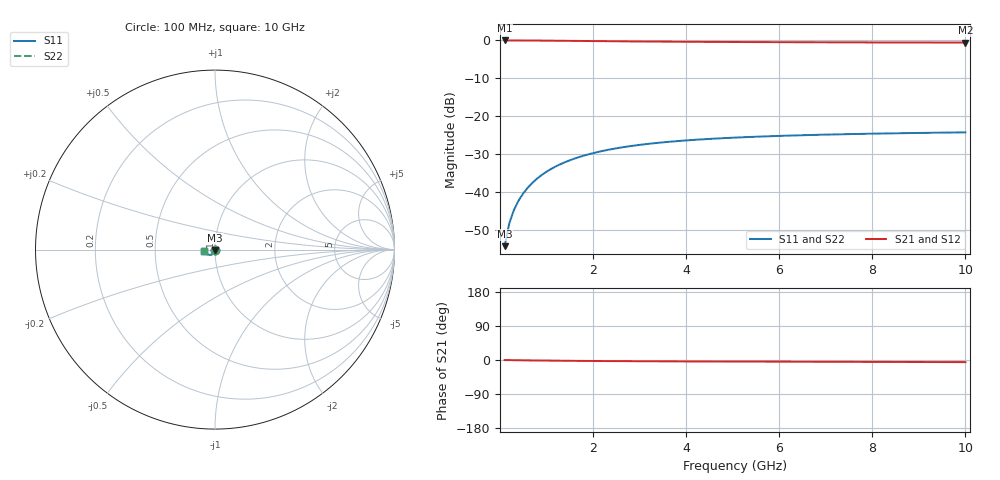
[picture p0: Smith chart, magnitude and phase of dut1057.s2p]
! Touchstone file exported from HFSS 2024.1.0
!  File:  C:/UserFiles/LocalFiles/RDL_TSV_Batchsim/temp_TSV1_1057_1780063100.aedt
!  Generated:  10:04:06 PM May 29, 2026
!  Design:  TSV1
!  Project:  temp_TSV1_1057_1780063100
!  Setup:  Setup1
!  Solution:  Sweep
! Variables:
!  dtsv = 14.5um
!  hbump = 3um
!  htsv = 86.67um
!  lrdl = 252.1521522um
!  p = 40
!  p1 = 57.31um
!  t = 500um
!  trdl = 3um
!  wrdl = 24.89489489um
# GHz S MA R 50.000000
! Terminal data exported
! Port[1] = TSV22_T1
! Port[2] = TSV22_T2
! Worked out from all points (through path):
!   100 points, 100 MHz to 10 GHz, reference 50 ohm
!   highest |S21| = 0.00 dB at 100 MHz (marker M1); lowest = -0.6 dB at 10 GHz (marker M2)
!   lowest |S11| = -54.2 dB at 100 MHz (marker M3), VSWR 1.00, Z = 50 - j0.195 ohm
!   |S11| at or under -10 dB: start of sweep to end of sweep
!   |S22| runs from -54.2 to -24.2 dB; largest |S21 - S12| = 4e-15
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0.1  0.001947 -89.5  0.9998 -0.2  0.9998 -0.2  0.001947 -89.5
! Gamma 0 0 0 0
! Port Impedance 50 0 50 0
0.2  0.003893 -92.5  0.9996 -0.3  0.9996 -0.3  0.003893 -92.5
0.3  0.005833 -94.8  0.9993 -0.5  0.9993 -0.5  0.005833 -94.8
0.4  0.007759 -97.0  0.9988 -0.7  0.9988 -0.7  0.007759 -97.0
0.5  0.009662 -99.0  0.9982 -0.8  0.9982 -0.8  0.009662 -99.0
0.6  0.01153 -101.0  0.9975 -1.0  0.9975 -1.0  0.01153 -101.0
0.7  0.01337 -103.0  0.9967 -1.1  0.9967 -1.1  0.01337 -103.0
0.8  0.01517 -104.9  0.9958 -1.3  0.9958 -1.3  0.01517 -104.9
0.9  0.01692 -106.8  0.9949 -1.4  0.9949 -1.4  0.01692 -106.8
1.1  0.02028 -110.4  0.9928 -1.7  0.9928 -1.7  0.02028 -110.4
1.4  0.02492 -115.5  0.9892 -2.0  0.9892 -2.0  0.02492 -115.5
1.6  0.02775 -118.6  0.9867 -2.2  0.9867 -2.2  0.02775 -118.6
1.8  0.03035 -121.6  0.9841 -2.4  0.9841 -2.4  0.03035 -121.6
2.1  0.03388 -125.8  0.9803 -2.7  0.9803 -2.7  0.03388 -125.8
2.5  0.03792 -130.8  0.9755 -2.9  0.9755 -2.9  0.03792 -130.8
2.9  0.04131 -135.2  0.971 -3.2  0.971 -3.2  0.04131 -135.2
3.4  0.04481 -140.0  0.966 -3.4  0.966 -3.4  0.04481 -140.0
4.2  0.04911 -146.5  0.9594 -3.8  0.9594 -3.8  0.04911 -146.5
5.1  0.05263 -152.3  0.9536 -4.1  0.9536 -4.1  0.05263 -152.3
6.7  0.05684 -160.4  0.9465 -4.6  0.9465 -4.6  0.05684 -160.4
8.4  0.05968 -167.1  0.9415 -5.1  0.9415 -5.1  0.05968 -167.1
10  0.06152 -172.1  0.9383 -5.6  0.9383 -5.6  0.06152 -172.1
